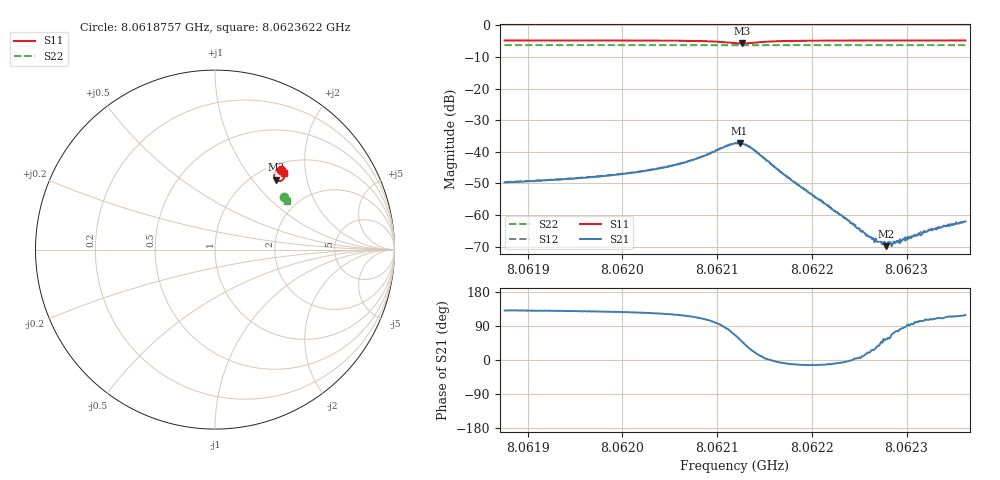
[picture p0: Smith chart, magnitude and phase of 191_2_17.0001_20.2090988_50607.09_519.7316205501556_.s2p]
#  HZ  S  RI  R  50.00
! Rohde & Schwarz Vector Network Analyzer
! Rohde-Schwarz,ZNB20-2Port,1311601062101988,3.16
! Created: UTC 3/20/2024, 11:00:39 PM
! freq[Hz]  re:S11  im:S11  re:S21  im:S21  re:S12  im:S12  re:S22  im:S22
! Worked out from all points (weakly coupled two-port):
!   401 points, 8.0618757 GHz to 8.0623622 GHz, reference 50 ohm
!   highest |S21| = -37.24 dB at 8.0621238 GHz (marker M1); lowest = -69.9 dB at 8.0622782 GHz (marker M2)
!   lowest |S11| = -5.7 dB at 8.0621262 GHz (marker M3), VSWR 3.13, Z = 62.2 + j66.1 ohm
!   |S11| at or under -10 dB: nowhere
!   |S22| runs from -6.3 to -6.3 dB; largest |S21 - S12| = 0.001
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8.06187574e9  0.3684 0.4426  -0.00214 0.00248  -0.00202 0.00264  0.3871 0.2944
8.06195721e9  0.3747 0.4366  -0.00245 0.00302  -0.00225 0.00317  0.3899 0.2903
8.06201072e9  0.3796 0.4309  -0.00272 0.00381  -0.00253 0.00401  0.3918 0.2877
8.06203869e9  0.3827 0.4263  -0.00294 0.0046  -0.00269 0.00479  0.3929 0.286
8.06207517e9  0.3866 0.4145  -0.003 0.00686  -0.00264 0.00708  0.3941 0.2837
8.06210192e9  0.3812 0.394  -0.00086 0.0108  -0.000247 0.011  0.3942 0.2817
8.06211895e9  0.3541 0.3822  0.00565 0.0124  0.00634 0.0121  0.3935 0.2808
8.06212381e9  0.343 0.386  0.00799 0.0112  0.00854 0.0107  0.3932 0.2808
8.06212624e9  0.3381 0.3898  0.00882 0.0102  0.0095 0.00972  0.393 0.2811
8.0621384e9  0.3295 0.4154  0.00999 0.00411  0.0103 0.00351  0.3936 0.2819
8.0621688e9  0.3528 0.4389  0.00454 -0.000608  0.00453 -0.000856  0.3959 0.2811
8.06220042e9  0.366 0.4385  0.00204 -0.000463  0.00198 -0.000609  0.3973 0.2794
8.06223812e9  0.3738 0.4355  0.000827 -4.55e-05  0.000818 -9.15e-05  0.3987 0.2773
8.06226487e9  0.3773 0.4336  0.000384 0.000185  0.000388 0.000174  0.3997 0.276
8.06227825e9  0.3787 0.4327  0.000184 0.000263  0.000224 0.000241  0.4002 0.2753
8.06228189e9  0.3792 0.4323  0.000201 0.000304  0.000189 0.00032  0.4003 0.2751
8.06228919e9  0.3799 0.4318  9.29e-05 0.00037  0.000121 0.000355  0.4006 0.2747
8.06229527e9  0.3805 0.4315  4.07e-05 0.000389  7.22e-05 0.000417  0.4009 0.2743
8.06230986e9  0.3819 0.4305  -7.39e-05 0.000471  -6.17e-05 0.000462  0.4013 0.2737
8.06231594e9  0.3824 0.4303  -0.00011 0.000477  -8.48e-05 0.000523  0.4015 0.2733
8.06232445e9  0.3832 0.4296  -0.000175 0.000561  -0.000121 0.000576  0.4018 0.2729
8.06236215e9  0.3861 0.4272  -0.000383 0.000694  -0.000322 0.000705  0.4029 0.2709
